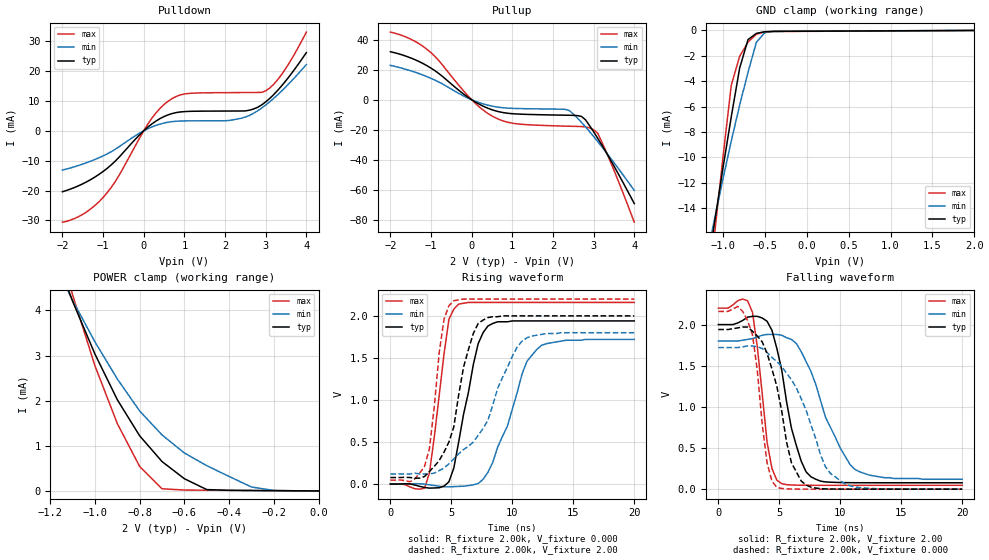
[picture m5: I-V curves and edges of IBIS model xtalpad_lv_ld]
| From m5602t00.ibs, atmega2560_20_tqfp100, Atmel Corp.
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|   Model xtalpad_lv_ld
[Model]   xtalpad_lv_ld
Model_type   I/O
Polarity   Non-Inverting
Enable   Active-High
Vinl =   0.60V
Vinh =   1.40V
Vmeas =   1.00V
Cref =  50.00pF
C_comp   5.31pF   5.31pF   5.81pF
[Temperature Range]   27.00   0.12k   -55.00
[Voltage Range]   2.00V   1.80V   2.20V
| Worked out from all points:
|   slope of the pulldown table from 0 to 0.3 V, typ, clamps not added: 92.3 ohm
|   slope of the pullup table from 0 to 0.3 V, typ, clamps not added: 66.4 ohm
|   GND clamp passes 1 mA (typ) near -0.71 V on its own axis
|   POWER clamp passes 1 mA (typ) near -0.76 V on its own axis
|   rising waveform, R_fixture 2.00k, V_fixture 0.000: 20-80 % time 1.56ns typ, 2.39ns min, 1.09ns max; typ from 0 V to 1.94 V
|   rising waveform, R_fixture 2.00k, V_fixture 2.00: 20-80 % time 1.76ns typ, 3.38ns min, 963ps max; typ from 0.078 V to 2 V
|   falling waveform, R_fixture 2.00k, V_fixture 2.00: 20-80 % time 1.6ns typ, 2.69ns min, 953ps max; typ from 2 V to 0.078 V
|   falling waveform, R_fixture 2.00k, V_fixture 0.000: 20-80 % time 1.68ns typ, 2.82ns min, 966ps max; typ from 1.94 V to 0 V
[Pulldown]
| voltage   I(typ)   I(min)   I(max)
-2V       -20.37mA   -13.12mA   -30.58mA
-1.5V     -17.71mA   -11.09mA   -27.95mA
-1V       -13.58mA   -8.36mA    -22.29mA
-600mV    -8.69mA    -5.24mA    -14.72mA
100mV     1.28mA     740uA      2.3mA
600mV     5.4mA      2.94mA     9.98mA
1V        6.48mA     3.36mA     12.39mA
2.1V      6.67mA     3.5mA      12.84mA
2.6V      6.96mA     5.2mA      12.88mA
3V        9.73mA     8.68mA     13.43mA
3.4V      15.24mA    13.5mA     19.07mA
4V        26.25mA    22.25mA    33.13mA
[Pullup]
| voltage   I(typ)   I(min)   I(max)
-2V       32.08mA    22.95mA    45.19mA
-1.5V     27.94mA    19.35mA    40.49mA
-1.1V     22.74mA    15.43mA    33.7mA
0V        0A         0A         0A
600mV     -7.51mA    -4.75mA    -12.24mA
1.1V      -9.48mA    -5.83mA    -16.03mA
2.4V      -10.36mA   -7.19mA    -17.68mA
2.7V      -11.11mA   -15.06mA   -17.89mA
3V        -21.38mA   -24.53mA   -19.98mA
3.1V      -25.69mA   -27.89mA   -22.32mA
3.3V      -34.72mA   -34.82mA   -34.18mA
4V        -69.32mA   -60.55mA   -81.76mA
[GND_clamp]
| voltage   I(typ)   I(min)   I(max)
-2V       -58.51mA   -46.45mA   -77.72mA
-1.2V     -19.57mA   -18.13mA   -22.37mA
-1.1V     -15.16mA   -14.88mA   -16.09mA
-1V       -10.88mA   -11.73mA   -10.05mA
-900mV    -6.81mA    -8.72mA    -4.32mA
-800mV    -2.97mA    -5.89mA    -2.04mA
-700mV    -720uA     -3.29mA    -920uA
-600mV    -230uA     -930uA     -300uA
-500mV    -100uA     -170uA     -110uA
-400mV    -75.52uA   -74.82uA   -83.8uA
2V        36.99pA    10.07uA    -6.36uA
[POWER_clamp]
| voltage   I(typ)   I(min)   I(max)
-2V       19.5mA     15.72mA    25.53mA
-1.2V     5.52mA     5.24mA     6.14mA
-1.1V     4.2mA      4.22mA     4.34mA
-1V       3.03mA     3.3mA      2.77mA
-900mV    2.02mA     2.48mA     1.49mA
-800mV    1.22mA     1.77mA     540uA
-700mV    650uA      1.24mA     47.1uA
-600mV    270uA      840uA      19.82uA
-500mV    29.93uA    560uA      15.93uA
-300mV    9.23uA     86.63uA    9.55uA
-200mV    6.15uA     10.07uA    6.37uA
0V        37.02pA    1.95nA     8.94pA
[Ramp]
| variable   typ   min   max
dV/dt_r   1.17/1.43n   1.03/2.31n   1.30/1.05n
dV/dt_f   1.15/1.56n   1.01/2.66n   1.29/0.91n
R_load = 2.00k
[Rising Waveform]
R_fixture = 2.00k
V_fixture = 0.000
V_fixture_min = 0.000
V_fixture_max = 0.000
| time   V(typ)   V(min)   V(max)
0s        0V         1.6uV      0V
2.8ns     -39.95mV   -1.07mV    -48.84mV
3.2ns     -48.21mV   -9.38mV    130mV
4.8ns     26.41mV    -33.2mV    1.96V
5.6ns     500mV      -27.61mV   2.14V
7.2ns     1.67V      6.61mV     2.16V
8ns       1.88V      140mV      2.16V
11.2ns    1.94V      1.46V      2.16V
12ns      1.94V      1.6V       2.16V
20ns      1.94V      1.72V      2.16V
[Rising Waveform]
R_fixture = 2.00k
V_fixture = 2.00
V_fixture_min = 1.80
V_fixture_max = 2.20
| time   V(typ)   V(min)   V(max)
0s        77.77mV    120mV      46.93mV
2.8ns     89.69mV    120mV      210mV
3.2ns     150mV      120mV      420mV
4.4ns     380mV      190mV      1.96V
5.2ns     680mV      300mV      2.18V
6ns       1.39V      410mV      2.2V
7.6ns     1.95V      660mV      2.2V
10ns      2V         1.52V      2.2V
11.2ns    2V         1.74V      2.2V
20ns      2V         1.8V       2.2V
[Falling Waveform]
R_fixture = 2.00k
V_fixture = 2.00
V_fixture_min = 1.80
V_fixture_max = 2.20
| time   V(typ)   V(min)   V(max)
0s        2V         1.8V       2.2V
2.8ns     2.1V       1.83V      2.15V
4ns       2.04V      1.88V      570mV
4.4ns     1.93V      1.88V      250mV
5.2ns     1.45V      1.87V      66.81mV
6ns       740mV      1.82V      50.47mV
7.6ns     150mV      1.43V      47.32mV
8.8ns     87.83mV    870mV      46.94mV
11.2ns    78.31mV    240mV      46.93mV
20ns      77.76mV    120mV      46.94mV
[Falling Waveform]
R_fixture = 2.00k
V_fixture = 0.000
V_fixture_min = 0.000
V_fixture_max = 0.000
| time   V(typ)   V(min)   V(max)
0s        1.94V      1.72V      2.16V
1.6ns     1.96V      1.72V      2.22V
2.8ns     1.92V      1.74V      1.88V
4ns       1.65V      1.66V      320mV
4.8ns     1.25V      1.55V      20.83mV
6ns       320mV      1.33V      1.86mV
7.2ns     50.28mV    960mV      370uV
8.8ns     3.07mV     270mV      4.46uV
10.4ns    490uV      65.15mV    220nV
20ns      5.72uV     25.75uV    0V
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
